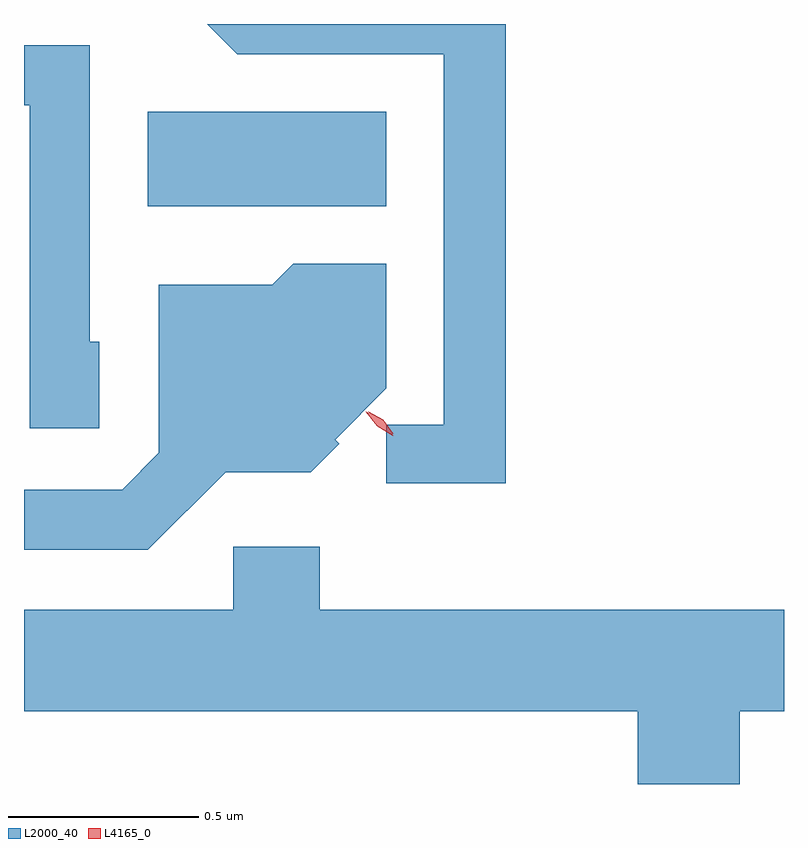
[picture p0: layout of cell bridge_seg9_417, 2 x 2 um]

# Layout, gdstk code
import gdstk
lib = gdstk.Library(unit=1e-6, precision=1e-09)
def R(c, l, rs):  # rectangles x0, y0, x1, y1
    for r in rs: c.add(gdstk.rectangle(r[:2], r[2:], *l))
def P(c, l, *ps):  # polygons
    for p in ps: c.add(gdstk.Polygon(p, *l))
L2000_40 = (2000, 40)
L4165_0 = (4165, 0)

bridge_seg9_417 = lib.new_cell('bridge_seg9_417')
R(bridge_seg9_417, L2000_40, [(653.346,2022.006,653.974,2022.254)])
P(bridge_seg9_417, L2000_40, [(654.289,2022.485),(653.503,2022.485),(653.582,2022.406),(654.126,2022.406),(654.126,2021.43),(653.974,2021.43),(653.974,2021.276),(654.289,2021.276)],
  [(653.219,2021.649),(653.194,2021.649),(653.194,2022.429),(653.021,2022.429),(653.021,2022.271),(653.036,2022.271),(653.036,2021.421),(653.219,2021.421)],
  [(653.552,2021.306),(653.776,2021.306),(653.85,2021.38),(653.84,2021.391),(653.974,2021.526),(653.974,2021.854),(653.729,2021.854),(653.674,2021.799),(653.376,2021.799),(653.376,2021.357),(653.279,2021.259),(653.021,2021.259),(653.021,2021.101),(653.347,2021.101)],
  [(654.904,2020.676),(655.021,2020.676),(655.021,2020.944),(653.799,2020.944),(653.799,2021.109),(653.571,2021.109),(653.571,2020.944),(653.021,2020.944),(653.021,2020.676),(654.636,2020.676),(654.636,2020.485),(654.904,2020.485)])
P(bridge_seg9_417, L4165_0, [(653.992,2021.402),(653.95,2021.426),(653.92,2021.465),(653.92,2021.465),(653.921,2021.465),(653.963,2021.441),(653.993,2021.402),(653.993,2021.402)],
  [(653.992,2021.407),(653.954,2021.428),(653.927,2021.464),(653.927,2021.465),(653.928,2021.465),(653.967,2021.443),(653.993,2021.407),(653.993,2021.407)])

lib.write_gds('bridge_seg9_417.gds')
